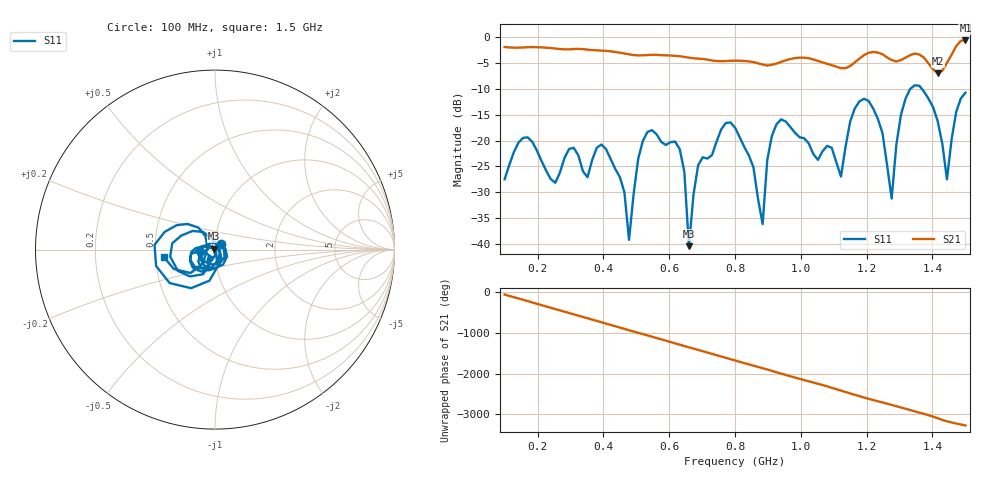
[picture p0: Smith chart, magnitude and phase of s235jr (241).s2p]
! NanoVNA-App
! Date: 2025-09-25 15:06:02
! Start: 100MHz Stop: 1,5GHz Points: 101
! S-Parameter data: F S11 S21 S12 S22
# Hz S RI R 50
!  Frequency  S11_Real  S11_Imag  S21_Real  S21_Imag  S12_Real  S12_Imag  S22_Real  S22_Imag
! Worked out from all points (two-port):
!   101 points, 100 MHz to 1.5 GHz, reference 50 ohm
!   highest |S21| = -0.70 dB at 1.5 GHz (marker M1); lowest = -7.1 dB at 1.416 GHz (marker M2)
!   |S21| within 3 dB of the highest: start of sweep to 624.9 MHz; 1.188 GHz to 1.256 GHz (67.36 MHz wide, 5.51 % of centre)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
!   lowest |S11| = -40.4 dB at 660 MHz (marker M3), VSWR 1.02, Z = 49.2 + j0.536 ohm
!   |S11| at or under -10 dB: start of sweep to 1.333 GHz; 1.367 GHz to end of sweep
!   S12 and S22 are empty: the file has one direction only
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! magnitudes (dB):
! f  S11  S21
! 100 MHz  -27.5  -2.0
! 170 MHz  -19.4  -2.0
! 338 MHz  -25.9  -2.4
! 408 MHz  -21.6  -2.7
! 478 MHz  -39.2  -3.4
! 520 MHz  -20.1  -3.6
! 576 MHz  -20.3  -3.5
! 632 MHz  -21.6  -3.7
! 660 MHz  -40.4  -4.0
! 688 MHz  -24.8  -4.2
! 800 MHz  -17.5  -4.6
! 884 MHz  -36.1  -5.3
! 898 MHz  -23.8  -5.5
! 926 MHz  -16.9  -5.2
! 1.038 GHz  -22.6  -4.4
! 1.122 GHz  -26.9  -6.0
! 1.206 GHz  -12.4  -3.1
! 1.276 GHz  -31.2  -4.5
! 1.332 GHz  -10.1  -3.5
! 1.416 GHz  -16.3  -7.1
! 1.444 GHz  -27.5  -5.0
! 1.5 GHz  -10.8  -0.7
